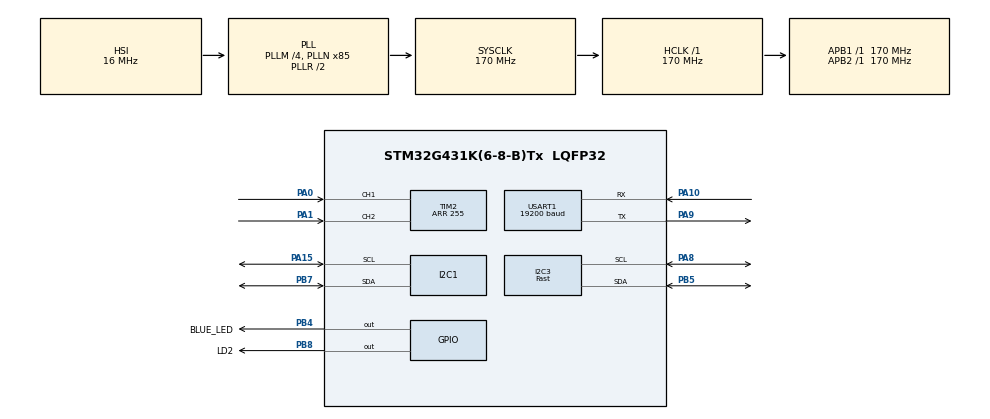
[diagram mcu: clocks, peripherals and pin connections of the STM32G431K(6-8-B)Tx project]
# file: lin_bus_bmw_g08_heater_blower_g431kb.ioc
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I2C1.Timing=0x40B285C2
I2C3.I2C_Speed_Mode=I2C_Fast
I2C3.Timing=0x40621236
Mcu.Family=STM32G4
Mcu.Name=STM32G431K(6-8-B)Tx
Mcu.Package=LQFP32
NUCLEO-G431KB.Bsp_Common_DEMO=true
NUCLEO-G431KB.LD2=false
NUCLEO-G431KB.VCP=true
NVIC.PriorityGroup=NVIC_PRIORITYGROUP_4
NVIC.TIM2_IRQn=true\:0\:0\:false\:false\:true\:true\:true\:true
NVIC.USART1_IRQn=true\:0\:0\:false\:false\:true\:true\:true\:true
PA0.Signal=S_TIM2_CH1
PA1.Signal=S_TIM2_CH2
PA10.GPIO_PuPd=GPIO_PULLUP
PA10.Mode=LIN
PA10.Signal=USART1_RX
PA13.GPIO_Label=T_SWDIO
PA13.Signal=SYS_JTMS-SWDIO
PA14.GPIO_Label=T_SWCLK
PA14.Signal=SYS_JTCK-SWCLK
PA15.GPIO_Pu=GPIO_PULLUP
PA15.Mode=I2C
PA15.Signal=I2C1_SCL
PA2.Signal=USART2_TX
PA3.Signal=USART2_RX
PA8.Mode=I2C
PA8.Signal=I2C3_SCL
PA9.Mode=LIN
PA9.Signal=USART1_TX
PB3.GPIO_Label=T_SWO
PB3.Signal=SYS_JTDO-SWO
PB4.GPIO_Label=BLUE_LED
PB4.Signal=GPIO_Output
PB5.Mode=I2C
PB5.Signal=I2C3_SDA
PB7.GPIO_Pu=GPIO_PULLUP
PB7.Mode=I2C
PB7.Signal=I2C1_SDA
PB8-BOOT0.GPIO_Label=LD2
PB8-BOOT0.Signal=GPIO_Output
ProjectManager.HeapSize=0x200
ProjectManager.StackSize=0x400
ProjectManager.TargetToolchain=STM32CubeIDE
RCC.ADC12Freq_Value=170000000
RCC.AHBFreq_Value=170000000
RCC.APB1Freq_Value=170000000
RCC.APB1TimFreq_Value=170000000
RCC.APB2Freq_Value=170000000
RCC.APB2TimFreq_Value=170000000
RCC.CortexFreq_Value=170000000
RCC.EXTERNAL_CLOCK_VALUE=12288000
RCC.HCLKFreq_Value=170000000
RCC.HSE_VALUE=8000000
RCC.HSI48_VALUE=48000000
RCC.HSI_VALUE=16000000
RCC.LSE_VALUE=32768
RCC.PLLM=RCC_PLLM_DIV4
RCC.PLLN=85
RCC.SYSCLKFreq_VALUE=170000000
RCC.SYSCLKSource=RCC_SYSCLKSOURCE_PLLCLK
RCC.USBFreq_Value=170000000
RCC.VCOOutputFreq_Value=340000000
RTC.Format=RTC_FORMAT_BIN
SH.S_TIM2_CH1.0=TIM2_CH1,Encoder_Interface
SH.S_TIM2_CH2.0=TIM2_CH2,Encoder_Interface
TIM2.CounterMode=TIM_COUNTERMODE_UP
TIM2.EncoderMode=TIM_ENCODERMODE_TI1
TIM2.IC1Filter=15
TIM2.IC2Filter=15
TIM2.PeriodNoDither=255
USART1.BaudRate=19200
USART1.BreakDetectLength=UART_LINBREAKDETECTLENGTH_11B
USART1.VirtualMode-LIN=VM_LIN
VP_NUCLEO-G431KB_VS_BSP_COMMON.Mode=COMMON
VP_RTC_VS_RTC_Activate.Mode=RTC_Enabled
VP_RTC_VS_RTC_Calendar.Mode=RTC_Calendar
VP_SYS_VS_DBSignals.Mode=DisableDeadBatterySignals
board=NUCLEO-G431KB

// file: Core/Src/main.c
/* USER CODE BEGIN Header */
/**
 ******************************************************************************
 * @file           : main.c
 * @brief          : Main program body
 ******************************************************************************
 * @attention
 *
 * Copyright (c) 2025 STMicroelectronics.
 * All rights reserved.
 *
 * This software is licensed under terms that can be found in the LICENSE file
 * in the root directory of this software component.
 * If no LICENSE file comes with this software, it is provided AS-IS.
 *
 ******************************************************************************
 */
/* USER CODE END Header */
#include "main.h"
#include "i2c.h"
#include "rtc.h"
#include "tim.h"
#include "usart.h"
#include "gpio.h"

/* USER CODE BEGIN Includes */
#include <stdbool.h>
#include <stddef.h>
#include <stdio.h>
#include <stdlib.h>
#include <string.h>

#include "ssd1306.h"
#include "df2301q_voice_recognition.h"
#include "rtc_conf.h"

/* USER CODE END Includes */

/* USER CODE BEGIN PD */
#define HEATER_BLOWER_DIAGNOSTICS_LIN_MSG_ID 0x1C
#define HEATER_BLOWER_REF_SPEED_LIN_MSG_ID 0x1D

#define LIN_UART_HANDLE_PTR &huart1
#define LIN_UART_INSTANCE USART1
#define LIN_SEND_PERIOD 250
#define TX_BUFFER_SIZE 17 //11
#define RX_BUFFER_SIZE 17 //12

#define ENC_KNOB_CNT_MIN 8
#define ENC_KNOB_CNT_MAX 64

#define CURRENT_SCALING 5.657f
#define VOLTAGE_SCALING 10.0f
#define SPEED_SCALING 26.2f // rpm

#define BATTERY_VOLTAGE_PROTECTION 11.1f   // V

#define VOICE_CHECK_PERIOD 500

/* USER CODE END PD */

COM_InitTypeDef BspCOMInit;

/* USER CODE BEGIN PV */
uint8_t txData[TX_BUFFER_SIZE];
uint8_t rxData[RX_BUFFER_SIZE];
uint8_t rxDataShadow[RX_BUFFER_SIZE];
uint32_t LinSendSoftTimer;
uint32_t VoiceRecognitionSoftTimer;

volatile uint8_t lin_data_received_flag = 0;

uint8_t uart_line[128];
uint8_t lcd_line[32];

float drive_voltage;
float drive_current;

uint8_t low_voltage_flag = 0;
uint8_t ref_speed = 0;

uint8_t voice_cmd_id;

// Timestamp
extern RTC_TimeTypeDef timeNow;
extern RTC_DateTypeDef dateNow;

/* USER CODE END PV */

void SystemClock_Config(void);
/* USER CODE BEGIN PFP */

// https://controllerstech.com/stm32-uart-8-lin-protocol-part-1/
// https://controllerstech.com/stm32-uart-9-lin-protocol-part-2/
// https://controllerstech.com/stm32-uart-10-lin-protocol-part-3/
uint8_t Pid_Calc(uint8_t ID);
uint8_t Checksum_Calc(uint8_t PID, uint8_t *data, uint8_t size);

/* USER CODE END PFP */

int main(void)
{

	/* MCU Configuration--------------------------------------------------------*/

	/* Reset of all peripherals, Initializes the Flash interface and the Systick. */
	HAL_Init();

	/* Configure the system clock */
	SystemClock_Config();

	/* Initialize all configured peripherals */
	MX_GPIO_Init();
	MX_USART1_UART_Init();
	MX_TIM2_Init();
	MX_I2C3_Init();
	MX_I2C1_Init();
	MX_RTC_Init();
	/* USER CODE BEGIN 2 */

	ssd1306_Init();
	ssd1306_Fill(Black);
	ssd1306_SetCursor(20, 0);
	ssd1306_WriteString("ufnalski.edu.pl", Font_6x8, White);
	ssd1306_SetCursor(28, 12);
	ssd1306_WriteString("LIN bus demo", Font_6x8, White);
	ssd1306_SetCursor(2, 22);
	ssd1306_WriteString("BMW G08 heater blower", Font_6x8, White);
	ssd1306_SetCursor(8, 32);
	ssd1306_WriteString("with voice commands", Font_6x8, White);
	ssd1306_UpdateScreen();

	HAL_TIM_Encoder_Start_IT(&htim2, TIM_CHANNEL_ALL);
	__HAL_TIM_SET_COUNTER(&htim2, (ENC_KNOB_CNT_MIN + ENC_KNOB_CNT_MAX) / 2);

	SetRtcCompilationTimeAndDate();

	/* USER CODE END 2 */

	/* Initialize COM1 port (115200, 8 bits (7-bit data + 1 stop bit), no parity */
	BspCOMInit.BaudRate = 115200;
	BspCOMInit.WordLength = COM_WORDLENGTH_8B;
	BspCOMInit.StopBits = COM_STOPBITS_1;
	BspCOMInit.Parity = COM_PARITY_NONE;
	BspCOMInit.HwFlowCtl = COM_HWCONTROL_NONE;
	if (BSP_COM_Init(COM1, &BspCOMInit) != BSP_ERROR_NONE)
	{
		Error_Handler();
	}

	/* USER CODE BEGIN BSP */

	/* -- Sample board code to send message over COM1 port ---- */
	printf("Welcome to LIN bus world!\r\n");

	/* USER CODE END BSP */

	/* Infinite loop */
	/* USER CODE BEGIN WHILE */
	VoiceRecognitionSoftTimer = HAL_GetTick();
	LinSendSoftTimer = HAL_GetTick();

	while (1)
	{

		// Reference speed sending
		if (HAL_GetTick() - LinSendSoftTimer > LIN_SEND_PERIOD)
		{
			LinSendSoftTimer = HAL_GetTick();
			HAL_GPIO_TogglePin(BLUE_LED_GPIO_Port, BLUE_LED_Pin);

			if (low_voltage_flag == 0)
			{
				ref_speed = __HAL_TIM_GET_COUNTER(&htim2);
			}
			else
			{
				ref_speed = 0;
			}

			txData[0] = 0x55;
			txData[1] = Pid_Calc(HEATER_BLOWER_REF_SPEED_LIN_MSG_ID);
			txData[2] = 0x00;
			txData[3] = 0x00;
			txData[4] = 0x08; // activates blower?
			txData[5] = 0x00;
			txData[6] = 0x00;
			txData[7] = ref_speed; // sets speed
			txData[8] = 0x00;
			txData[9] = 0x00;
			txData[10] = Checksum_Calc(txData[1], txData + 2, 8);

			HAL_UARTEx_ReceiveToIdle_IT(LIN_UART_HANDLE_PTR, rxData,
			RX_BUFFER_SIZE);
			HAL_LIN_SendBreak(LIN_UART_HANDLE_PTR);
			HAL_UART_Transmit(LIN_UART_HANDLE_PTR, txData, 11, LIN_SEND_PERIOD);

			HAL_Delay(LIN_SEND_PERIOD / 2);
			// ask for diagnostics
			txData[0] = 0x55;
			txData[1] = Pid_Calc(HEATER_BLOWER_DIAGNOSTICS_LIN_MSG_ID);

			memset(rxData, 0x00, RX_BUFFER_SIZE);
			HAL_UARTEx_ReceiveToIdle_IT(LIN_UART_HANDLE_PTR, rxData,
			RX_BUFFER_SIZE);
			HAL_LIN_SendBreak(LIN_UART_HANDLE_PTR);
			HAL_UART_Transmit(LIN_UART_HANDLE_PTR, txData, 2, LIN_SEND_PERIOD);
		}

		// Diagnostic data reading
		if (lin_data_received_flag == 1)
		{
			lin_data_received_flag = 0;

			drive_voltage = ((float) (rxDataShadow[8])) / VOLTAGE_SCALING;

			if (rxDataShadow[5] != 0xFE)
			{
				drive_current = ((float) (rxDataShadow[5])) / CURRENT_SCALING;
			}
			else
			{
				drive_current = 0;
			}

			HAL_RTC_GetTime(&hrtc, &timeNow, RTC_FORMAT_BIN);
			HAL_RTC_GetDate(&hrtc, &dateNow, RTC_FORMAT_BIN);
			// https://msalamon.pl/a-jak-to-jest-z-tym-rtc-na-stm32f4/
			float timeNow_Milliseconds = (timeNow.SecondFraction
					- timeNow.SubSeconds) / ((float) timeNow.SecondFraction + 1)
					* 1000;
			sprintf((char*) uart_line,
					"[%02d:%02d:%02d:%03.0f] I = %2.1f A,  U = %3.1f V, w = %4.0f rpm (w_ref = %4.0f rpm)\r\n",
					timeNow.Hours, timeNow.Minutes, timeNow.Seconds,
					timeNow_Milliseconds, drive_current, drive_voltage,
					((float) (rxDataShadow[6])) * SPEED_SCALING,
					((float) ref_speed) * SPEED_SCALING);
			printf((char*) uart_line);

			ssd1306_SetCursor(2, 46);
			if (low_voltage_flag == 0)
			{
				sprintf((char*) lcd_line, "Speed: %.0f/%.0f rpm   ",
						((float) (rxDataShadow[6])) * SPEED_SCALING,
						((float) ref_speed) * SPEED_SCALING);
			}
			else
			{
				sprintf((char*) lcd_line, "Ref. speed: %.0f (UVP)  ",
						((float) ref_speed) * SPEED_SCALING);
			}
			ssd1306_WriteString((char*) lcd_line, Font_6x8, White);

			ssd1306_SetCursor(2, 56);
			sprintf((char*) lcd_line, "I: %.1f A,  U: %.1f V   ", drive_current,
					drive_voltage);
			ssd1306_WriteString((char*) lcd_line, Font_6x8, White);
			ssd1306_UpdateScreen();

			if (drive_voltage < BATTERY_VOLTAGE_PROTECTION)
			{
				low_voltage_flag = 1;
			}
		}

		// Voice recognition module
		if (HAL_GetTick() - VoiceRecognitionSoftTimer > VOICE_CHECK_PERIOD)
		{
			VoiceRecognitionSoftTimer = HAL_GetTick();
			voice_cmd_id = DF2301G_GetCommandID();
			switch (voice_cmd_id)
			{
			case VOICE_CMD_TURN_FAN_SPEED_TO_GEAR_ONE:
				__HAL_TIM_SET_COUNTER(&htim2, ENC_KNOB_CNT_MAX / 3);
				printf("Voice command: %s\r\n",
				VOICE_CMD_TURN_FAN_SPEED_TO_GEAR_ONE_STRING);
				break;
			case VOICE_CMD_TURN_FAN_SPEED_TO_GEAR_TWO:
				__HAL_TIM_SET_COUNTER(&htim2, ENC_KNOB_CNT_MAX / 3 * 2);
				printf("Voice command: %s\r\n",
				VOICE_CMD_TURN_FAN_SPEED_TO_GEAR_TWO_STRING);
				break;
			case VOICE_CMD_TURN_FAN_SPEED_TO_GEAR_THREE:
				__HAL_TIM_SET_COUNTER(&htim2, ENC_KNOB_CNT_MAX);
				printf("Voice command: %s\r\n",
				VOICE_CMD_TURN_FAN_SPEED_TO_GEAR_THREE_STRING);
				break;
			default:
				__NOP();
			}
		}
		/* USER CODE END WHILE */

	}
}

void SystemClock_Config(void)
{
	RCC_OscInitTypeDef RCC_OscInitStruct =
	{ 0 };
	RCC_ClkInitTypeDef RCC_ClkInitStruct =
	{ 0 };

	/** Configure the main internal regulator output voltage
	 */
	HAL_PWREx_ControlVoltageScaling(PWR_REGULATOR_VOLTAGE_SCALE1_BOOST);

	/** Initializes the RCC Oscillators according to the specified parameters
	 * in the RCC_OscInitTypeDef structure.
	 */
	RCC_OscInitStruct.OscillatorType = RCC_OSCILLATORTYPE_HSI
			| RCC_OSCILLATORTYPE_LSI;
	RCC_OscInitStruct.HSIState = RCC_HSI_ON;
	RCC_OscInitStruct.HSICalibrationValue = RCC_HSICALIBRATION_DEFAULT;
	RCC_OscInitStruct.LSIState = RCC_LSI_ON;
	RCC_OscInitStruct.PLL.PLLState = RCC_PLL_ON;
	RCC_OscInitStruct.PLL.PLLSource = RCC_PLLSOURCE_HSI;
	RCC_OscInitStruct.PLL.PLLM = RCC_PLLM_DIV4;
	RCC_OscInitStruct.PLL.PLLN = 85;
	RCC_OscInitStruct.PLL.PLLP = RCC_PLLP_DIV2;
	RCC_OscInitStruct.PLL.PLLQ = RCC_PLLQ_DIV2;
	RCC_OscInitStruct.PLL.PLLR = RCC_PLLR_DIV2;
	if (HAL_RCC_OscConfig(&RCC_OscInitStruct) != HAL_OK)
	{
		Error_Handler();
	}

	/** Initializes the CPU, AHB and APB buses clocks
	 */
	RCC_ClkInitStruct.ClockType = RCC_CLOCKTYPE_HCLK | RCC_CLOCKTYPE_SYSCLK
			| RCC_CLOCKTYPE_PCLK1 | RCC_CLOCKTYPE_PCLK2;
	RCC_ClkInitStruct.SYSCLKSource = RCC_SYSCLKSOURCE_PLLCLK;
	RCC_ClkInitStruct.AHBCLKDivider = RCC_SYSCLK_DIV1;
	RCC_ClkInitStruct.APB1CLKDivider = RCC_HCLK_DIV1;
	RCC_ClkInitStruct.APB2CLKDivider = RCC_HCLK_DIV1;

	if (HAL_RCC_ClockConfig(&RCC_ClkInitStruct, FLASH_LATENCY_4) != HAL_OK)
	{
		Error_Handler();
	}
}

/* USER CODE BEGIN 4 */
void HAL_UARTEx_RxEventCallback(UART_HandleTypeDef *huart, uint16_t Size)
{
	static uint8_t event_counter = 0;
	if (huart->Instance == LIN_UART_INSTANCE)
	{
		if (rxData[2] == Pid_Calc(HEATER_BLOWER_DIAGNOSTICS_LIN_MSG_ID))
		{
			memcpy(rxDataShadow, rxData, sizeof(rxData) * sizeof(rxData[0]));
			memset(rxData, 0x00, RX_BUFFER_SIZE);
			lin_data_received_flag = 1;
			event_counter++;
			event_counter %= 8;
			if (event_counter == 0)
			{
				HAL_GPIO_TogglePin(LD2_GPIO_Port, LD2_Pin);
			}
		}
	}
}

void HAL_TIM_IC_CaptureCallback(TIM_HandleTypeDef *htim)
{
	if (htim->Instance == TIM2)
	{
		if (__HAL_TIM_GET_COUNTER(&htim2) < ENC_KNOB_CNT_MIN)
		{
			__HAL_TIM_SET_COUNTER(&htim2, ENC_KNOB_CNT_MIN);
		}
		else if (__HAL_TIM_GET_COUNTER(&htim2) > ENC_KNOB_CNT_MAX)
		{
			__HAL_TIM_SET_COUNTER(&htim2, ENC_KNOB_CNT_MAX);
		}
	}
}

uint8_t Pid_Calc(uint8_t ID)
{
	if (ID > 0x3F)
		Error_Handler();
	uint8_t IDBuf[6];
	for (int i = 0; i < 6; i++)
	{
		IDBuf[i] = (ID >> i) & 0x01;
	}

	uint8_t P0 = (IDBuf[0] ^ IDBuf[1] ^ IDBuf[2] ^ IDBuf[4]) & 0x01;
	uint8_t P1 = ~((IDBuf[1] ^ IDBuf[3] ^ IDBuf[4] ^ IDBuf[5]) & 0x01);

	ID = ID | (P0 << 6) | (P1 << 7);
	return ID;
}

uint8_t Checksum_Calc(uint8_t PID, uint8_t *data, uint8_t size)
{
	uint8_t buffer[size + 2];
	uint16_t sum = 0;
	buffer[0] = PID;
	for (int i = 0; i < size; i++)
	{
		buffer[i + 1] = data[i];
	}

	for (int i = 0; i < size + 1; i++)
	{
		sum = sum + buffer[i];
		if (sum > 0xff)
			sum = sum - 0xff;
	}

	sum = 0xff - sum;
	return sum;
}
/* USER CODE END 4 */

/* USER CODE BEGIN Header */
/**
 ******************************************************************************
 * @file           : main.c
 * @brief          : Main program body
 ******************************************************************************
 * @attention
 *
 * Copyright (c) 2025 STMicroelectronics.
 * All rights reserved.
 *
 * This software is licensed under terms that can be found in the LICENSE file
 * in the root directory of this software component.
 * If no LICENSE file comes with this software, it is provided AS-IS.
 *
 ******************************************************************************
 */
/* USER CODE END Header */

void Error_Handler(void)
{
	__disable_irq();
	while (1)
	{
	}
}
